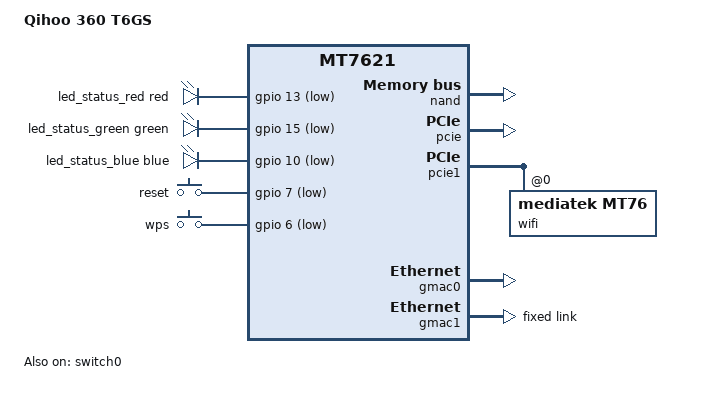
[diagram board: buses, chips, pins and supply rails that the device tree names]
// SPDX-License-Identifier: GPL-2.0-or-later OR MIT

#include "mt7621.dtsi"

#include <dt-bindings/gpio/gpio.h>
#include <dt-bindings/input/input.h>
#include <dt-bindings/leds/common.h>

/ {
	compatible = "qihoo,360t6gs", "mediatek,mt7621-soc";
	model = "Qihoo 360 T6GS";

	aliases {
		led-boot = &led_status_red;
		led-failsafe = &led_status_red;
		led-running = &led_status_green;
		led-upgrade = &led_status_green;
		label-mac-device = &gmac0;
	};

	chosen {
		bootargs = "console=ttyS0,115200";
	};

	leds {
		compatible = "gpio-leds";

		led_status_red: led-0 {
			function = LED_FUNCTION_STATUS;
			color = <LED_COLOR_ID_RED>;
			gpios = <&gpio 13 GPIO_ACTIVE_LOW>;
		};

		led_status_green: led-1 {
			color = <LED_COLOR_ID_GREEN>;
			function = LED_FUNCTION_STATUS;
			gpios = <&gpio 15 GPIO_ACTIVE_LOW>;
		};

		led_status_blue: led-2 {
			color = <LED_COLOR_ID_BLUE>;
			function = LED_FUNCTION_STATUS;
			gpios = <&gpio 10 GPIO_ACTIVE_LOW>;
		};
	};

	keys {
		compatible = "gpio-keys";

		reset {
			label = "reset";
			gpios = <&gpio 7 GPIO_ACTIVE_LOW>;
			linux,code = <KEY_RESTART>;
		};

		wps {
			label = "wps";
			gpios = <&gpio 6 GPIO_ACTIVE_LOW>;
			linux,code = <KEY_WPS_BUTTON>;
		};
	};
};

&nand {
	status = "okay";

	partitions {
		compatible = "fixed-partitions";
		#address-cells = <1>;
		#size-cells = <1>;

		partition@0 {
			label = "u-boot";
			reg = <0x000000 0x080000>;
			read-only;
		};

		partition@80000 {
			label = "u-boot-env";
			reg = <0x080000 0x040000>;
		};

		partition@c0000 {
			label = "Factory";
			reg = <0x0c0000 0x040000>;
			read-only;
			nvmem-layout {
				compatible = "fixed-layout";
				#address-cells = <1>;
				#size-cells = <1>;
				eeprom_factory: eeprom@0 {
					reg = <0x0 0x1000>;
				};

				macaddr_factory_3fff4: macaddr@3fff4 {
					reg = <0x3fff4 0x6>;
				};

				macaddr_factory_3fffa: macaddr@3fffa {
					reg = <0x3fffa 0x6>;
				};
			};
		};

		partition@180000 {
			label = "kernel";
			reg = <0x180000 0x400000>;
		};

		partition@580000 {
			label = "firmware";
			reg = <0x580000 0x7a80000>;
			compatible = "linux,ubi";
		};
	};
};

&pcie {
	status = "okay";
};

&pcie1 {
	wifi@0,0 {
		compatible = "mediatek,mt76";
		reg = <0x0000 0 0 0 0>;
		nvmem-cells = <&eeprom_factory>;
		nvmem-cell-names = "eeprom";
		mediatek,disable-radar-background;

		#address-cells = <1>;
		#size-cells = <0>;

		band@0 {
			reg = <0>;
			nvmem-cells = <&macaddr_factory_3fff4 1>;
			nvmem-cell-names = "mac-address";
		};

		band@1 {
			reg = <1>;
			nvmem-cells = <&macaddr_factory_3fffa 2>;
			nvmem-cell-names = "mac-address";
		};
	};
};

&gmac0 {
	status = "okay";
	nvmem-cells = <&macaddr_factory_3fff4>;
	nvmem-cell-names = "mac-address";
};

&gmac1 {
	status = "okay";
	label = "wan";
	nvmem-cells = <&macaddr_factory_3fffa>;
	nvmem-cell-names = "mac-address";
	fixed-link {
		speed = <1000>;
		full-duplex;
		pause;
	};
};

&switch0 {
	status = "okay";
	ports {
		port@0 {
			status = "okay";
			label = "lan1";
		};

		port@1 {
			status = "okay";
			label = "lan2";
		};

		port@2 {
			status = "okay";
			label = "lan3";
		};

		port@3 {
			status = "okay";
			label = "wan";
		};
	};
};

&state_default {
	gpio {
		groups = "jtag", "uart3", "wdt";
		function = "gpio";
	};
};
